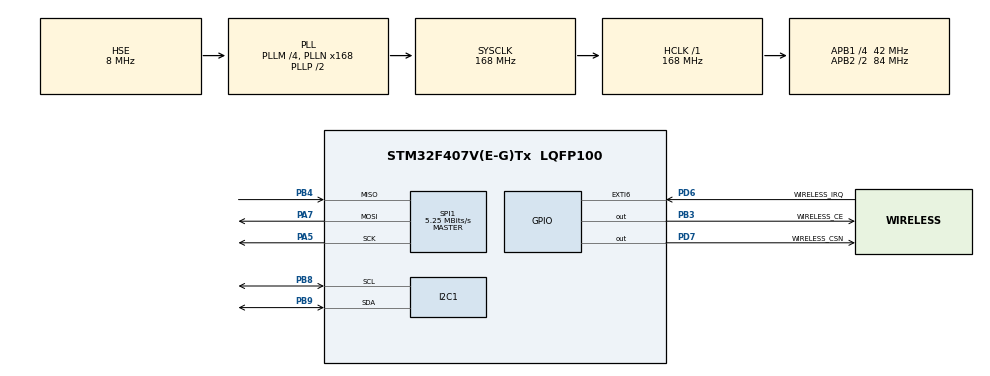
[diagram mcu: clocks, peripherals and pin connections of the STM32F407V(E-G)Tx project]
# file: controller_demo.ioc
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I2C1.I2C_Mode=I2C_Fast
Mcu.Family=STM32F4
Mcu.Name=STM32F407V(E-G)Tx
Mcu.Package=LQFP100
NVIC.EXTI9_5_IRQn=true\:0\:0\:false\:false\:true\:true\:true\:true
NVIC.PriorityGroup=NVIC_PRIORITYGROUP_4
PA13.Mode=Serial_Wire
PA13.Signal=SYS_JTMS-SWDIO
PA14.Mode=Serial_Wire
PA14.Signal=SYS_JTCK-SWCLK
PA5.Mode=Full_Duplex_Master
PA5.Signal=SPI1_SCK
PA7.Mode=Full_Duplex_Master
PA7.Signal=SPI1_MOSI
PB3.GPIO_Label=WIRELESS_CE
PB3.Signal=GPIO_Output
PB4.Mode=Full_Duplex_Master
PB4.Signal=SPI1_MISO
PB8.Mode=I2C
PB8.Signal=I2C1_SCL
PB9.Mode=I2C
PB9.Signal=I2C1_SDA
PD6.GPIO_Label=WIRELESS_IRQ
PD6.GPIO_ModeDefaultEXTI=GPIO_MODE_IT_FALLING
PD6.Signal=GPXTI6
PD7.GPIO_Label=WIRELESS_CSN
PD7.Signal=GPIO_Output
PH0-OSC_IN.Mode=HSE-External-Oscillator
PH0-OSC_IN.Signal=RCC_OSC_IN
PH1-OSC_OUT.Mode=HSE-External-Oscillator
PH1-OSC_OUT.Signal=RCC_OSC_OUT
ProjectManager.HeapSize=0x200
ProjectManager.StackSize=0x400
ProjectManager.TargetToolchain=Makefile
RCC.48MHZClocksFreq_Value=84000000
RCC.AHBFreq_Value=168000000
RCC.APB1CLKDivider=RCC_HCLK_DIV4
RCC.APB1Freq_Value=42000000
RCC.APB1TimFreq_Value=84000000
RCC.APB2CLKDivider=RCC_HCLK_DIV2
RCC.APB2Freq_Value=84000000
RCC.APB2TimFreq_Value=168000000
RCC.CortexFreq_Value=168000000
RCC.HCLKFreq_Value=168000000
RCC.HSE_VALUE=8000000
RCC.HSI_VALUE=16000000
RCC.LSE_VALUE=32768
RCC.PLLM=4
RCC.PLLN=168
RCC.PLLSourceVirtual=RCC_PLLSOURCE_HSE
RCC.SYSCLKFreq_VALUE=168000000
RCC.SYSCLKSource=RCC_SYSCLKSOURCE_PLLCLK
RCC.VCOOutputFreq_Value=336000000
SPI1.BaudRatePrescaler=SPI_BAUDRATEPRESCALER_16
SPI1.CalculateBaudRate=5.25 MBits/s
SPI1.Direction=SPI_DIRECTION_2LINES
SPI1.Mode=SPI_MODE_MASTER
SPI1.VirtualType=VM_MASTER
board=custom

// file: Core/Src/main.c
/* USER CODE BEGIN Header */
/**
  ******************************************************************************
  * @file           : main.c
  * @brief          : Main program body
  ******************************************************************************
  * @attention
  *
  * Copyright (c) 2025 STMicroelectronics.
  * All rights reserved.
  *
  * This software is licensed under terms that can be found in the LICENSE file
  * in the root directory of this software component.
  * If no LICENSE file comes with this software, it is provided AS-IS.
  *
  ******************************************************************************
  */
/* USER CODE END Header */
#include "main.h"

/* USER CODE BEGIN Includes */
#include "ssd1306.h"
#include "nrf24l01p.h"
#include "wireless.h"
#include <stdio.h>
#include <string.h>
/* USER CODE END Includes */

/* USER CODE BEGIN PM */
#define COMMAND_FRAG_NUM_MAX 128
/* USER CODE END PM */

I2C_HandleTypeDef hi2c1;

SPI_HandleTypeDef hspi1;

/* USER CODE BEGIN PV */
static uint8_t tx_address[5] = {0x0,0x0,0x0,0x0,0x01};
/* USER CODE END PV */

void SystemClock_Config(void);
static void MX_GPIO_Init(void);
static void MX_SPI1_Init(void);
static void MX_I2C1_Init(void);

int main(void)
{

  /* MCU Configuration--------------------------------------------------------*/

  /* Reset of all peripherals, Initializes the Flash interface and the Systick. */
  HAL_Init();

  /* Configure the system clock */
  SystemClock_Config();

  /* Initialize all configured peripherals */
  MX_GPIO_Init();
  MX_SPI1_Init();
  MX_I2C1_Init();
  /* USER CODE BEGIN 2 */
  // init ssd1306
  SSD1306State state;
  ssd1306_init();
  ssd1306_create_state(&state);
  state.font = &SSD1306Font_16x24;

  // init nrf24l01p
  nrf24l01p_set_mode_tx(2500,NRF24L01P_AIR_DATA_RATE_1Mbps);
  if(!nrf24l01p_check()) {
    ssd1306_write_string(&state,"nrf24l01p died!");
    ssd1306_flush(&state);
    Error_Handler();
  }

  nrf24l01p_set_tx_addr(tx_address,5);
  nrf24l01p_set_rx_addr(0,tx_address,5);

  /* USER CODE END 2 */

  /* Infinite loop */
  /* USER CODE BEGIN WHILE */
  CommandPacket command = {
    .version = 0x00,
    .type = COMMAND_MOVE,
    .payload.move.speed = {UINT16_MAX, UINT16_MAX}
  };

  int i = 0;
  char buf[16];
  while (1)
  {
    snprintf(buf, sizeof(buf), "i = %d", i);
    ssd1306_set_cursor(&state, 0, 0);
    ssd1306_write_string(&state, buf);
    ssd1306_flush(&state);

    // 更新 command 中的数据
    command.payload.move.speed[0] = i;
    command.payload.move.speed[1] = UINT16_MAX - i;
    i++;

    wireless_send(&command,sizeof(CommandPacket));
    HAL_Delay(100);
    /* USER CODE END WHILE */

  }
}

void SystemClock_Config(void)
{
  RCC_OscInitTypeDef RCC_OscInitStruct = {0};
  RCC_ClkInitTypeDef RCC_ClkInitStruct = {0};

  /** Configure the main internal regulator output voltage
  */
  __HAL_RCC_PWR_CLK_ENABLE();
  __HAL_PWR_VOLTAGESCALING_CONFIG(PWR_REGULATOR_VOLTAGE_SCALE1);

  /** Initializes the RCC Oscillators according to the specified parameters
  * in the RCC_OscInitTypeDef structure.
  */
  RCC_OscInitStruct.OscillatorType = RCC_OSCILLATORTYPE_HSE;
  RCC_OscInitStruct.HSEState = RCC_HSE_ON;
  RCC_OscInitStruct.PLL.PLLState = RCC_PLL_ON;
  RCC_OscInitStruct.PLL.PLLSource = RCC_PLLSOURCE_HSE;
  RCC_OscInitStruct.PLL.PLLM = 4;
  RCC_OscInitStruct.PLL.PLLN = 168;
  RCC_OscInitStruct.PLL.PLLP = RCC_PLLP_DIV2;
  RCC_OscInitStruct.PLL.PLLQ = 4;
  if (HAL_RCC_OscConfig(&RCC_OscInitStruct) != HAL_OK)
  {
    Error_Handler();
  }

  /** Initializes the CPU, AHB and APB buses clocks
  */
  RCC_ClkInitStruct.ClockType = RCC_CLOCKTYPE_HCLK|RCC_CLOCKTYPE_SYSCLK
                              |RCC_CLOCKTYPE_PCLK1|RCC_CLOCKTYPE_PCLK2;
  RCC_ClkInitStruct.SYSCLKSource = RCC_SYSCLKSOURCE_PLLCLK;
  RCC_ClkInitStruct.AHBCLKDivider = RCC_SYSCLK_DIV1;
  RCC_ClkInitStruct.APB1CLKDivider = RCC_HCLK_DIV4;
  RCC_ClkInitStruct.APB2CLKDivider = RCC_HCLK_DIV2;

  if (HAL_RCC_ClockConfig(&RCC_ClkInitStruct, FLASH_LATENCY_5) != HAL_OK)
  {
    Error_Handler();
  }
}

static void MX_I2C1_Init(void)
{

  hi2c1.Instance = I2C1;
  hi2c1.Init.ClockSpeed = 400000;
  hi2c1.Init.DutyCycle = I2C_DUTYCYCLE_2;
  hi2c1.Init.OwnAddress1 = 0;
  hi2c1.Init.AddressingMode = I2C_ADDRESSINGMODE_7BIT;
  hi2c1.Init.DualAddressMode = I2C_DUALADDRESS_DISABLE;
  hi2c1.Init.OwnAddress2 = 0;
  hi2c1.Init.GeneralCallMode = I2C_GENERALCALL_DISABLE;
  hi2c1.Init.NoStretchMode = I2C_NOSTRETCH_DISABLE;
  if (HAL_I2C_Init(&hi2c1) != HAL_OK)
  {
    Error_Handler();
  }

}

static void MX_SPI1_Init(void)
{

  /* SPI1 parameter configuration*/
  hspi1.Instance = SPI1;
  hspi1.Init.Mode = SPI_MODE_MASTER;
  hspi1.Init.Direction = SPI_DIRECTION_2LINES;
  hspi1.Init.DataSize = SPI_DATASIZE_8BIT;
  hspi1.Init.CLKPolarity = SPI_POLARITY_LOW;
  hspi1.Init.CLKPhase = SPI_PHASE_1EDGE;
  hspi1.Init.NSS = SPI_NSS_SOFT;
  hspi1.Init.BaudRatePrescaler = SPI_BAUDRATEPRESCALER_16;
  hspi1.Init.FirstBit = SPI_FIRSTBIT_MSB;
  hspi1.Init.TIMode = SPI_TIMODE_DISABLE;
  hspi1.Init.CRCCalculation = SPI_CRCCALCULATION_DISABLE;
  hspi1.Init.CRCPolynomial = 10;
  if (HAL_SPI_Init(&hspi1) != HAL_OK)
  {
    Error_Handler();
  }

}

static void MX_GPIO_Init(void)
{
  GPIO_InitTypeDef GPIO_InitStruct = {0};

  /* GPIO Ports Clock Enable */
  __HAL_RCC_GPIOH_CLK_ENABLE();
  __HAL_RCC_GPIOA_CLK_ENABLE();
  __HAL_RCC_GPIOD_CLK_ENABLE();
  __HAL_RCC_GPIOB_CLK_ENABLE();

  /*Configure GPIO pin Output Level */
  HAL_GPIO_WritePin(WIRELESS_CSN_GPIO_Port, WIRELESS_CSN_Pin, GPIO_PIN_RESET);

  /*Configure GPIO pin Output Level */
  HAL_GPIO_WritePin(WIRELESS_CE_GPIO_Port, WIRELESS_CE_Pin, GPIO_PIN_RESET);

  /*Configure GPIO pin : WIRELESS_IRQ_Pin */
  GPIO_InitStruct.Pin = WIRELESS_IRQ_Pin;
  GPIO_InitStruct.Mode = GPIO_MODE_IT_FALLING;
  GPIO_InitStruct.Pull = GPIO_NOPULL;
  HAL_GPIO_Init(WIRELESS_IRQ_GPIO_Port, &GPIO_InitStruct);

  /*Configure GPIO pin : WIRELESS_CSN_Pin */
  GPIO_InitStruct.Pin = WIRELESS_CSN_Pin;
  GPIO_InitStruct.Mode = GPIO_MODE_OUTPUT_PP;
  GPIO_InitStruct.Pull = GPIO_NOPULL;
  GPIO_InitStruct.Speed = GPIO_SPEED_FREQ_LOW;
  HAL_GPIO_Init(WIRELESS_CSN_GPIO_Port, &GPIO_InitStruct);

  /*Configure GPIO pin : WIRELESS_CE_Pin */
  GPIO_InitStruct.Pin = WIRELESS_CE_Pin;
  GPIO_InitStruct.Mode = GPIO_MODE_OUTPUT_PP;
  GPIO_InitStruct.Pull = GPIO_NOPULL;
  GPIO_InitStruct.Speed = GPIO_SPEED_FREQ_LOW;
  HAL_GPIO_Init(WIRELESS_CE_GPIO_Port, &GPIO_InitStruct);

  /* EXTI interrupt init*/
  HAL_NVIC_SetPriority(EXTI9_5_IRQn, 0, 0);
  HAL_NVIC_EnableIRQ(EXTI9_5_IRQn);

}

void Error_Handler(void)
{
  __disable_irq();
  while (1)
  {
  }
}
